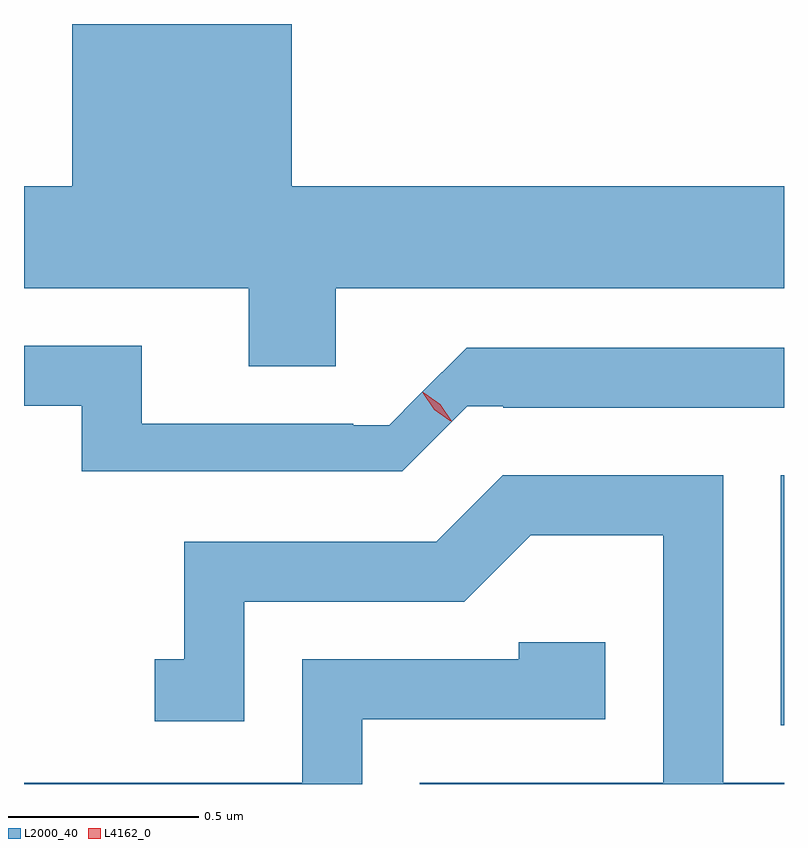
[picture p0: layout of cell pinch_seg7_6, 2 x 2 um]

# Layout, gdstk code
import gdstk
lib = gdstk.Library(unit=1e-6, precision=1e-09)
def R(c, l, rs):  # rectangles x0, y0, x1, y1
    for r in rs: c.add(gdstk.rectangle(r[:2], r[2:], *l))
def P(c, l, *ps):  # polygons
    for p in ps: c.add(gdstk.Polygon(p, *l))
L2000_40 = (2000, 40)
L4162_0 = (4162, 0)

pinch_seg7_6 = lib.new_cell('pinch_seg7_6')
R(pinch_seg7_6, L2000_40, [(1537.321,1733.146,1537.329,1733.804)])
P(pinch_seg7_6, L2000_40, [(1536.149,1734.296),(1537.329,1734.296),(1537.329,1734.564),(1536.034,1734.564),(1536.034,1734.991),(1535.456,1734.991),(1535.456,1734.564),(1535.329,1734.564),(1535.329,1734.296),(1535.921,1734.296),(1535.921,1734.091),(1536.149,1734.091)],
  [(1536.496,1733.985),(1536.59,1733.985),(1536.59,1733.981),(1537.329,1733.981),(1537.329,1734.139),(1536.494,1734.139),(1536.367,1734.013),(1536.29,1733.935),(1536.195,1733.935),(1536.195,1733.939),(1535.639,1733.939),(1535.639,1734.144),(1535.329,1734.144),(1535.329,1733.986),(1535.481,1733.986),(1535.481,1733.814),(1536.325,1733.814)],
  [(1537.329,1732.994),(1537.169,1732.994),(1537.169,1733.804),(1536.589,1733.804),(1536.414,1733.629),(1535.751,1733.629),(1535.751,1733.319),(1535.673,1733.319),(1535.673,1733.156),(1535.909,1733.156),(1535.909,1733.471),(1536.487,1733.471),(1536.662,1733.646),(1537.011,1733.646),(1537.011,1732.994),(1536.371,1732.994),(1536.371,1732.991),(1537.329,1732.991)],
  [(1536.219,1733.161),(1536.859,1733.161),(1536.859,1733.364),(1536.631,1733.364),(1536.631,1733.319),(1536.061,1733.319),(1536.061,1732.994),(1535.329,1732.994),(1535.329,1732.991),(1536.219,1732.991)])
P(pinch_seg7_6, L4162_0, [(1536.454,1733.944),(1536.409,1733.976),(1536.378,1734.021),(1536.378,1734.022),(1536.379,1734.022),(1536.424,1733.99),(1536.454,1733.945),(1536.454,1733.944)],
  [(1536.45,1733.947),(1536.409,1733.976),(1536.382,1734.018),(1536.382,1734.019),(1536.383,1734.019),(1536.424,1733.99),(1536.451,1733.948),(1536.451,1733.947)])

lib.write_gds('pinch_seg7_6.gds')
